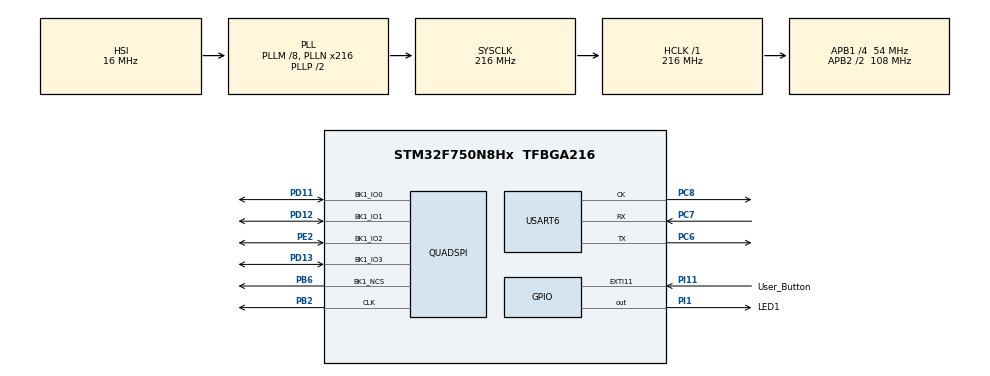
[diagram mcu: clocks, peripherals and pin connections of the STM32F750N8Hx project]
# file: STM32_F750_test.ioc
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CORTEX_M7.ART_ACCLERATOR_ENABLE=1
CORTEX_M7.CPU_DCache=Enabled
CORTEX_M7.CPU_ICache=Enabled
CORTEX_M7.PREFETCH_ENABLE=1
Dma.Request0=USART6_TX
Dma.USART6_TX.0.Direction=DMA_MEMORY_TO_PERIPH
Dma.USART6_TX.0.FIFOMode=DMA_FIFOMODE_DISABLE
Dma.USART6_TX.0.Instance=DMA2_Stream6
Dma.USART6_TX.0.MemDataAlignment=DMA_MDATAALIGN_BYTE
Dma.USART6_TX.0.MemInc=DMA_MINC_ENABLE
Dma.USART6_TX.0.Mode=DMA_NORMAL
Dma.USART6_TX.0.PeriphDataAlignment=DMA_PDATAALIGN_BYTE
Dma.USART6_TX.0.PeriphInc=DMA_PINC_DISABLE
Dma.USART6_TX.0.Priority=DMA_PRIORITY_LOW
Mcu.Family=STM32F7
Mcu.Name=STM32F750N8Hx
Mcu.Package=TFBGA216
NVIC.DMA2_Stream6_IRQn=true\:0\:4\:false\:false\:true\:false\:true
NVIC.EXTI15_10_IRQn=true\:0\:3\:true\:false\:true\:true\:true
NVIC.PriorityGroup=NVIC_PRIORITYGROUP_0
NVIC.QUADSPI_IRQn=true\:0\:0\:false\:false\:true\:true\:true
NVIC.TIM1_UP_TIM10_IRQn=true\:0\:2\:false\:false\:true\:true\:true
NVIC.TIM2_IRQn=true\:0\:2\:true\:false\:true\:true\:true
NVIC.USART6_IRQn=true\:0\:4\:false\:false\:true\:true\:true
PA13.Mode=Serial_Wire
PA13.Signal=SYS_JTMS-SWDIO
PA14.Mode=Serial_Wire
PA14.Signal=SYS_JTCK-SWCLK
PB2.Mode=Single Bank 1
PB2.Signal=QUADSPI_CLK
PB6.Mode=Single Bank 1
PB6.Signal=QUADSPI_BK1_NCS
PC6.Mode=Synchronous
PC6.Signal=USART6_TX
PC7.Mode=Synchronous
PC7.Signal=USART6_RX
PC8.Mode=Synchronous
PC8.Signal=USART6_CK
PD11.Mode=Single Bank 1
PD11.Signal=QUADSPI_BK1_IO0
PD12.Mode=Single Bank 1
PD12.Signal=QUADSPI_BK1_IO1
PD13.Mode=Single Bank 1
PD13.Signal=QUADSPI_BK1_IO3
PE2.Mode=Single Bank 1
PE2.Signal=QUADSPI_BK1_IO2
PI1.GPIO_Label=LED1
PI1.GPIO_Speed=GPIO_SPEED_FREQ_LOW
PI1.PinState=GPIO_PIN_RESET
PI1.Signal=GPIO_Output
PI11.GPIO_Label=User_Button
PI11.GPIO_ModeDefaultEXTI=GPIO_MODE_IT_FALLING
PI11.GPIO_PuPd=GPIO_PULLUP
PI11.Signal=GPXTI11
ProjectManager.HeapSize=0x200
ProjectManager.StackSize=0x400
ProjectManager.TargetToolchain=MDK-ARM V5
QUADSPI.ChipSelectHighTime=QSPI_CS_HIGH_TIME_2_CYCLE
QUADSPI.ClockPrescaler=2
QUADSPI.FifoThreshold=4
QUADSPI.FlashSize=0x1
QUADSPI.SampleShifting=QSPI_SAMPLE_SHIFTING_HALFCYCLE
RCC.AHBFreq_Value=216000000
RCC.APB1CLKDivider=RCC_HCLK_DIV4
RCC.APB1Freq_Value=54000000
RCC.APB1TimFreq_Value=108000000
RCC.APB2CLKDivider=RCC_HCLK_DIV2
RCC.APB2Freq_Value=108000000
RCC.APB2TimFreq_Value=216000000
RCC.CortexFreq_Value=216000000
RCC.HCLKFreq_Value=216000000
RCC.HSE_VALUE=25000000
RCC.HSI_VALUE=16000000
RCC.LSE_VALUE=32768
RCC.PLLM=8
RCC.PLLN=216
RCC.SYSCLKFreq_VALUE=216000000
RCC.SYSCLKSource=RCC_SYSCLKSOURCE_PLLCLK
RCC.USBFreq_Value=216000000
RCC.VCOOutputFreq_Value=432000000
TIM1.AutoReloadPreload=TIM_AUTORELOAD_PRELOAD_ENABLE
TIM1.ClockDivision=TIM_CLOCKDIVISION_DIV1
TIM1.Period=27000
TIM1.Prescaler=800
TIM1.RepetitionCounter=0
TIM2.AutoReloadPreload=TIM_AUTORELOAD_PRELOAD_ENABLE
TIM2.Period=27000
TIM2.Prescaler=800
USART6.VirtualMode-Synchronous=VM_SYNC
VP_TIM1_VS_ClockSourceINT.Mode=Internal
VP_TIM2_VS_ClockSourceINT.Mode=Internal
board=custom

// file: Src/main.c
/* USER CODE BEGIN Header */
/**
  ******************************************************************************
  * @file           : main.c
  * @brief          : Main program body
  ******************************************************************************
  * @attention
  *
  * <h2><center>&copy; Copyright (c) 2019 STMicroelectronics.
  * All rights reserved.</center></h2>
  *
  * This software component is licensed by ST under BSD 3-Clause license,
  * the "License"; You may not use this file except in compliance with the
  * License. You may obtain a copy of the License at:
  *                        opensource.org/licenses/BSD-3-Clause
  *
  ******************************************************************************
  */
/* USER CODE END Header */

#include "main.h"

QSPI_HandleTypeDef hqspi;

TIM_HandleTypeDef htim1;
TIM_HandleTypeDef htim2;

USART_HandleTypeDef husart6;
DMA_HandleTypeDef hdma_usart6_tx;

void SystemClock_Config(void);
static void MX_GPIO_Init(void);
static void MX_DMA_Init(void);
static void MX_USART6_Init(void);
static void MX_TIM1_Init(void);
static void MX_TIM2_Init(void);
static void MX_QUADSPI_Init(void);

/* USER CODE BEGIN 0 */
uint8_t  uc_test = 0;

uint8_t uart_dma_tx_source[10] = {0x01,0x02,0x03,0x04,0x05,0x06,0x07,0x08,0x09,0x20};
uint8_t       uart_dma_rx_des[10] = {0};
/* USER CODE END 0 */

int main(void)
{

  /* Enable I-Cache---------------------------------------------------------*/
  SCB_EnableICache();

  /* Enable D-Cache---------------------------------------------------------*/
  SCB_EnableDCache();

  /* MCU Configuration--------------------------------------------------------*/

  /* Reset of all peripherals, Initializes the Flash interface and the Systick. */
  HAL_Init();

  /* Configure the system clock */
  SystemClock_Config();

  /* Initialize all configured peripherals */
  MX_GPIO_Init();
  MX_DMA_Init();
  MX_USART6_Init();
  MX_TIM1_Init();
  MX_TIM2_Init();
  MX_QUADSPI_Init();
  /* USER CODE BEGIN 2 */
  HAL_TIM_Base_Start_IT(&htim1);
  HAL_TIM_Base_Start_IT(&htim2);

  /* USER CODE END 2 */

  /* Infinite loop */
  while (1)
  {

    /* USER CODE BEGIN 3 */
    if(uc_test == 1)
    {
      HAL_GPIO_TogglePin(LED1_GPIO_Port,LED1_Pin);
      HAL_USART_Transmit_DMA(&husart6,uart_dma_tx_source,10);
		}
    else if(uc_test == 2)
    {
      HAL_GPIO_WritePin(LED1_GPIO_Port,LED1_Pin,GPIO_PIN_SET);
      HAL_TIM_Base_Start(&htim1);
      HAL_TIM_Base_Start(&htim2);
    }
    else
    {
       HAL_GPIO_WritePin(LED1_GPIO_Port,LED1_Pin,GPIO_PIN_RESET);
			 HAL_TIM_Base_Stop(&htim1);
       HAL_TIM_Base_Stop(&htim2);
    }
		HAL_Delay(200);
  }
  /* USER CODE END 3 */
}

void SystemClock_Config(void)
{
  RCC_OscInitTypeDef RCC_OscInitStruct = {0};
  RCC_ClkInitTypeDef RCC_ClkInitStruct = {0};
  RCC_PeriphCLKInitTypeDef PeriphClkInitStruct = {0};

  /** Configure the main internal regulator output voltage
  */
  __HAL_RCC_PWR_CLK_ENABLE();
  __HAL_PWR_VOLTAGESCALING_CONFIG(PWR_REGULATOR_VOLTAGE_SCALE1);
  /** Initializes the CPU, AHB and APB busses clocks
  */
  RCC_OscInitStruct.OscillatorType = RCC_OSCILLATORTYPE_HSI;
  RCC_OscInitStruct.HSIState = RCC_HSI_ON;
  RCC_OscInitStruct.HSICalibrationValue = RCC_HSICALIBRATION_DEFAULT;
  RCC_OscInitStruct.PLL.PLLState = RCC_PLL_ON;
  RCC_OscInitStruct.PLL.PLLSource = RCC_PLLSOURCE_HSI;
  RCC_OscInitStruct.PLL.PLLM = 8;
  RCC_OscInitStruct.PLL.PLLN = 216;
  RCC_OscInitStruct.PLL.PLLP = RCC_PLLP_DIV2;
  RCC_OscInitStruct.PLL.PLLQ = 2;
  if (HAL_RCC_OscConfig(&RCC_OscInitStruct) != HAL_OK)
  {
    Error_Handler();
  }
  /** Activate the Over-Drive mode
  */
  if (HAL_PWREx_EnableOverDrive() != HAL_OK)
  {
    Error_Handler();
  }
  /** Initializes the CPU, AHB and APB busses clocks
  */
  RCC_ClkInitStruct.ClockType = RCC_CLOCKTYPE_HCLK|RCC_CLOCKTYPE_SYSCLK
                              |RCC_CLOCKTYPE_PCLK1|RCC_CLOCKTYPE_PCLK2;
  RCC_ClkInitStruct.SYSCLKSource = RCC_SYSCLKSOURCE_PLLCLK;
  RCC_ClkInitStruct.AHBCLKDivider = RCC_SYSCLK_DIV1;
  RCC_ClkInitStruct.APB1CLKDivider = RCC_HCLK_DIV4;
  RCC_ClkInitStruct.APB2CLKDivider = RCC_HCLK_DIV2;

  if (HAL_RCC_ClockConfig(&RCC_ClkInitStruct, FLASH_LATENCY_7) != HAL_OK)
  {
    Error_Handler();
  }
  PeriphClkInitStruct.PeriphClockSelection = RCC_PERIPHCLK_USART6;
  PeriphClkInitStruct.Usart6ClockSelection = RCC_USART6CLKSOURCE_PCLK2;
  if (HAL_RCCEx_PeriphCLKConfig(&PeriphClkInitStruct) != HAL_OK)
  {
    Error_Handler();
  }
}

static void MX_QUADSPI_Init(void)
{

  /* QUADSPI parameter configuration*/
  hqspi.Instance = QUADSPI;
  hqspi.Init.ClockPrescaler = 2;
  hqspi.Init.FifoThreshold = 4;
  hqspi.Init.SampleShifting = QSPI_SAMPLE_SHIFTING_HALFCYCLE;
  hqspi.Init.FlashSize = 1;
  hqspi.Init.ChipSelectHighTime = QSPI_CS_HIGH_TIME_2_CYCLE;
  hqspi.Init.ClockMode = QSPI_CLOCK_MODE_0;
  hqspi.Init.FlashID = QSPI_FLASH_ID_1;
  hqspi.Init.DualFlash = QSPI_DUALFLASH_DISABLE;
  if (HAL_QSPI_Init(&hqspi) != HAL_OK)
  {
    Error_Handler();
  }

}

static void MX_TIM1_Init(void)
{

  TIM_ClockConfigTypeDef sClockSourceConfig = {0};
  TIM_MasterConfigTypeDef sMasterConfig = {0};

  htim1.Instance = TIM1;
  htim1.Init.Prescaler = 800;
  htim1.Init.CounterMode = TIM_COUNTERMODE_UP;
  htim1.Init.Period = 27000;
  htim1.Init.ClockDivision = TIM_CLOCKDIVISION_DIV1;
  htim1.Init.RepetitionCounter = 0;
  htim1.Init.AutoReloadPreload = TIM_AUTORELOAD_PRELOAD_ENABLE;
  if (HAL_TIM_Base_Init(&htim1) != HAL_OK)
  {
    Error_Handler();
  }
  sClockSourceConfig.ClockSource = TIM_CLOCKSOURCE_INTERNAL;
  if (HAL_TIM_ConfigClockSource(&htim1, &sClockSourceConfig) != HAL_OK)
  {
    Error_Handler();
  }
  sMasterConfig.MasterOutputTrigger = TIM_TRGO_RESET;
  sMasterConfig.MasterOutputTrigger2 = TIM_TRGO2_RESET;
  sMasterConfig.MasterSlaveMode = TIM_MASTERSLAVEMODE_DISABLE;
  if (HAL_TIMEx_MasterConfigSynchronization(&htim1, &sMasterConfig) != HAL_OK)
  {
    Error_Handler();
  }

}

static void MX_TIM2_Init(void)
{

  TIM_ClockConfigTypeDef sClockSourceConfig = {0};
  TIM_MasterConfigTypeDef sMasterConfig = {0};

  htim2.Instance = TIM2;
  htim2.Init.Prescaler = 800;
  htim2.Init.CounterMode = TIM_COUNTERMODE_UP;
  htim2.Init.Period = 27000;
  htim2.Init.ClockDivision = TIM_CLOCKDIVISION_DIV1;
  htim2.Init.AutoReloadPreload = TIM_AUTORELOAD_PRELOAD_ENABLE;
  if (HAL_TIM_Base_Init(&htim2) != HAL_OK)
  {
    Error_Handler();
  }
  sClockSourceConfig.ClockSource = TIM_CLOCKSOURCE_INTERNAL;
  if (HAL_TIM_ConfigClockSource(&htim2, &sClockSourceConfig) != HAL_OK)
  {
    Error_Handler();
  }
  sMasterConfig.MasterOutputTrigger = TIM_TRGO_RESET;
  sMasterConfig.MasterSlaveMode = TIM_MASTERSLAVEMODE_DISABLE;
  if (HAL_TIMEx_MasterConfigSynchronization(&htim2, &sMasterConfig) != HAL_OK)
  {
    Error_Handler();
  }

}

static void MX_USART6_Init(void)
{

  husart6.Instance = USART6;
  husart6.Init.BaudRate = 115200;
  husart6.Init.WordLength = USART_WORDLENGTH_8B;
  husart6.Init.StopBits = USART_STOPBITS_1;
  husart6.Init.Parity = USART_PARITY_NONE;
  husart6.Init.Mode = USART_MODE_TX_RX;
  husart6.Init.CLKPolarity = USART_POLARITY_LOW;
  husart6.Init.CLKPhase = USART_PHASE_1EDGE;
  husart6.Init.CLKLastBit = USART_LASTBIT_DISABLE;
  if (HAL_USART_Init(&husart6) != HAL_OK)
  {
    Error_Handler();
  }

}

static void MX_DMA_Init(void)
{
  /* DMA controller clock enable */
  __HAL_RCC_DMA2_CLK_ENABLE();

  /* DMA interrupt init */
  /* DMA2_Stream6_IRQn interrupt configuration */
  HAL_NVIC_SetPriority(DMA2_Stream6_IRQn, 0, 4);
  HAL_NVIC_EnableIRQ(DMA2_Stream6_IRQn);

}

static void MX_GPIO_Init(void)
{
  GPIO_InitTypeDef GPIO_InitStruct = {0};

  /* GPIO Ports Clock Enable */
  __HAL_RCC_GPIOE_CLK_ENABLE();
  __HAL_RCC_GPIOA_CLK_ENABLE();
  __HAL_RCC_GPIOB_CLK_ENABLE();
  __HAL_RCC_GPIOI_CLK_ENABLE();
  __HAL_RCC_GPIOC_CLK_ENABLE();
  __HAL_RCC_GPIOD_CLK_ENABLE();

  /*Configure GPIO pin Output Level */
  HAL_GPIO_WritePin(LED1_GPIO_Port, LED1_Pin, GPIO_PIN_RESET);

  /*Configure GPIO pin : LED1_Pin */
  GPIO_InitStruct.Pin = LED1_Pin;
  GPIO_InitStruct.Mode = GPIO_MODE_OUTPUT_PP;
  GPIO_InitStruct.Pull = GPIO_NOPULL;
  GPIO_InitStruct.Speed = GPIO_SPEED_FREQ_LOW;
  HAL_GPIO_Init(LED1_GPIO_Port, &GPIO_InitStruct);

  /*Configure GPIO pin : User_Button_Pin */
  GPIO_InitStruct.Pin = User_Button_Pin;
  GPIO_InitStruct.Mode = GPIO_MODE_IT_FALLING;
  GPIO_InitStruct.Pull = GPIO_PULLUP;
  HAL_GPIO_Init(User_Button_GPIO_Port, &GPIO_InitStruct);

  /* EXTI interrupt init*/
  HAL_NVIC_SetPriority(EXTI15_10_IRQn, 0, 3);
  HAL_NVIC_EnableIRQ(EXTI15_10_IRQn);

}

void Error_Handler(void)
{
}

/************************ (C) COPYRIGHT STMicroelectronics *****END OF FILE****/
